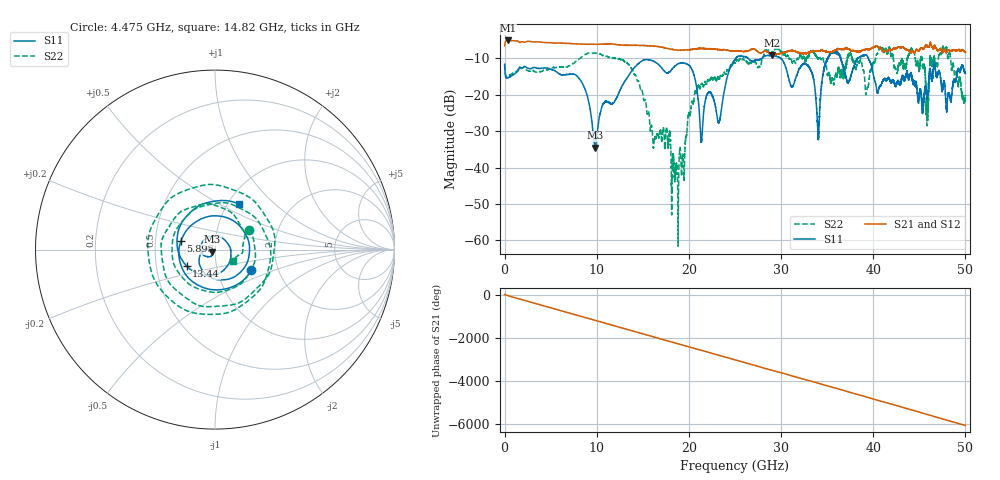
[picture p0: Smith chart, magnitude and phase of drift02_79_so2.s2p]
!Created with skrf (http://scikit-rf.org).
# Hz S RI R 50.0
!freq ReS11 ImS11 ReS21 ImS21 ReS12 ImS12 ReS22 ImS22
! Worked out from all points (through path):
!   10001 points, 300 kHz to 50 GHz, reference 50 ohm
!   highest |S21| = -5.04 dB at 375.3 MHz (marker M1); lowest = -9.0 dB at 29.01 GHz (marker M2)
!   group delay of S21, straight-line fit = 336 ps
!   lowest |S11| = -34.5 dB at 9.84 GHz (marker M3), VSWR 1.04, Z = 48.5 - j1.05 ohm
!   |S11| at or under -10 dB: start of sweep to 25.08 GHz; 29.98 GHz to 35.05 GHz (5.069 GHz wide, 15.6 % of centre); 39.48 GHz to end of sweep (the widest 3 of 9)
!   |S22| runs from -61.6 to -6.6 dB; largest |S21 - S12| = 0.021
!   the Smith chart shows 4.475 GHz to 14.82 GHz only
!   S11 on the Smith chart (normalised r, x): 4.475 GHz: 1.46, -0.35; 5.895 GHz: 0.68, +0.07; 13.44 GHz: 0.72, -0.14; 14.82 GHz: 1.13, +0.62
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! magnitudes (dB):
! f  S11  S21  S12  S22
! 300 kHz  -11.6  -6.5  -6.4  -11.6
! 375.3 MHz  -15.3  -5.0  -5.0  -14.9
! 4.475 GHz  -12.6  -5.6  -5.6  -13.2
! 5.895 GHz  -14.2  -5.7  -5.7  -12.4
! 8.335 GHz  -16.4  -6.0  -6.0  -9.6
! 9.84 GHz  -34.5  -6.1  -6.1  -8.5
! 13.44 GHz  -14.8  -6.4  -6.4  -11.6
! 14.82 GHz  -10.8  -6.4  -6.4  -18.5
! 16.67 GHz  -11.6  -6.7  -6.7  -31.3
! 18.66 GHz  -11.8  -7.7  -7.7  -39.8
! 20.38 GHz  -13.3  -7.5  -7.5  -22.0
! 21.37 GHz  -32.2  -7.2  -7.2  -16.9
! 23.31 GHz  -27.2  -7.5  -7.6  -15.6
! 25 GHz  -10.3  -7.9  -8.0  -11.2
! 29.01 GHz  -9.1  -9.0  -9.0  -8.1
! 33.34 GHz  -13.9  -8.1  -8.1  -8.1
! 34.02 GHz  -31.6  -7.9  -7.9  -10.1
! 35.52 GHz  -8.5  -8.1  -8.0  -15.5
! 41.67 GHz  -15.3  -7.7  -7.7  -7.3
! 45.86 GHz  -21.3  -6.7  -6.8  -21.7
! 47.76 GHz  -17.2  -7.5  -7.5  -7.4
! 50 GHz  -14.1  -8.3  -8.4  -20.4
